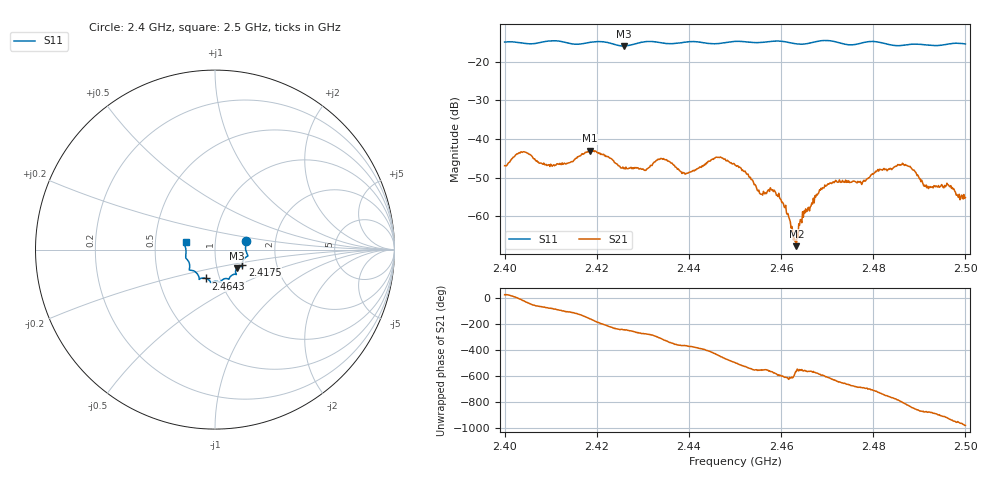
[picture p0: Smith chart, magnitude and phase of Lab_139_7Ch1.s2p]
# Hz S RI R 50
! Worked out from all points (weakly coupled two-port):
!   601 points, 2.4 GHz to 2.5 GHz, reference 50 ohm
!   highest |S21| = -42.97 dB at 2.4185 GHz (marker M1); lowest = -67.7 dB at 2.4633 GHz (marker M2)
!   lowest |S11| = -15.9 dB at 2.4258 GHz (marker M3), VSWR 1.38, Z = 62.3 - j13.2 ohm
!   |S11| at or under -10 dB: start of sweep to end of sweep
!   S12 and S22 are empty: the file has one direction only
!   S11 on the Smith chart (normalised r, x): 2.4 GHz: 1.41, +0.14; 2.4175 GHz: 1.34, -0.23; 2.4643 GHz: 0.86, -0.29; 2.5 GHz: 0.72, +0.06
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2.4e9  0.1727 0.0487  0.00409 0.00194  0 0  0 0
2.404e9  0.1721 0.0253  0.00642 -0.00234  0 0  0 0
2.410333e9  0.1833 -0.0338  0.000667 -0.0044  0 0  0 0
2.416667e9  0.1529 -0.0742  -0.00424 -0.00468  0 0  0 0
2.4175e9  0.1518 -0.0837  -0.00552 -0.00391  0 0  0 0
2.4185e9  0.1522 -0.092  -0.00672 -0.00231  0 0  0 0
2.425833e9  0.1218 -0.1032  -0.00174 0.00378  0 0  0 0
2.433333e9  0.1133 -0.1372  0.00304 0.00461  0 0  0 0
2.439e9  0.08 -0.1595  0.00364 -0.000358  0 0  0 0
2.446e9  0.0477 -0.1643  0.00143 -0.00566  0 0  0 0
2.45e9  0.029 -0.1809  -0.00341 -0.0031  0 0  0 0
2.4555e9  -0.00229 -0.1772  -0.00189 0.000512  0 0  0 0
2.459e9  -0.0222 -0.1837  -0.0013 0.00134  0 0  0 0
2.463333e9  -0.0392 -0.1655  -0.000369 0.000186  0 0  0 0
2.464333e9  -0.0498 -0.1609  -0.000862 0.000296  0 0  0 0
2.466667e9  -0.0758 -0.1594  -0.00133 0.000679  0 0  0 0
2.470333e9  -0.0882 -0.1654  -0.000671 0.00252  0 0  0 0
2.483333e9  -0.1409 -0.0901  0.00319 -0.00261  0 0  0 0
2.4875e9  -0.1576 -0.0527  -0.00127 -0.0043  0 0  0 0
2.4915e9  -0.162 -0.0302  -0.00232 -0.00104  0 0  0 0
2.496333e9  -0.168 0.0224  -0.00221 0.00127  0 0  0 0
2.5e9  -0.1641 0.0429  -0.000225 0.00175  0 0  0 0
